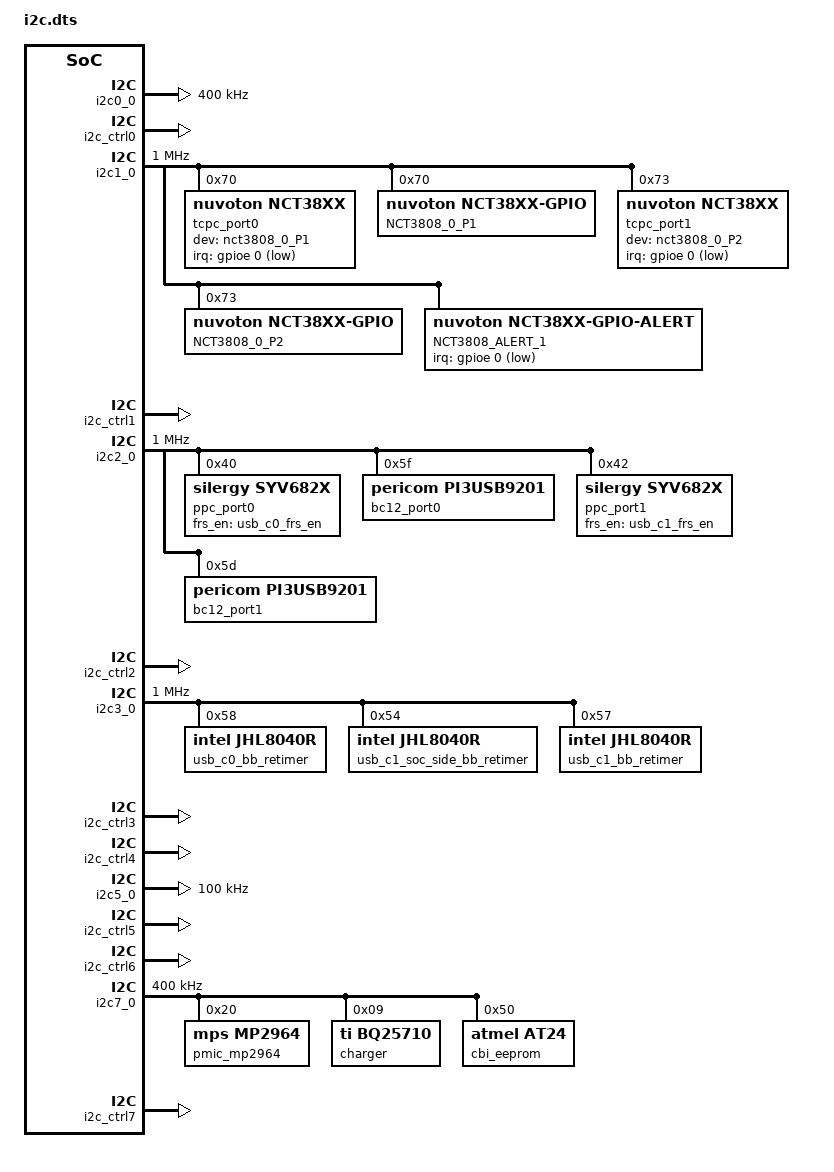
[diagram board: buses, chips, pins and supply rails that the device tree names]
/* Copyright 2022 The ChromiumOS Authors
 * Use of this source code is governed by a BSD-style license that can be
 * found in the LICENSE file.
 */

 #include <dt-bindings/usb_pd_tcpm.h>

/ {
	named-i2c-ports {
		compatible = "named-i2c-ports";
		i2c_sensor: sensor {
			i2c-port = <&i2c0_0>;
			enum-names = "I2C_PORT_SENSOR";
		};
		tcpc0_2: tcpc0_2 {
			i2c-port = <&i2c1_0>;
			enum-names = "I2C_PORT_USB_C0_C1_TCPC";
		};
		c0_c2_bc12: c0_c2_bc12 {
			i2c-port = <&i2c2_0>;
			enum-names = "I2C_PORT_USB_C0_C1_PPC",
				"I2C_PORT_USB_C0_C1_BC12";
		};
		retimer0_2: retimer0_2 {
			i2c-port = <&i2c3_0>;
			enum-names = "I2C_PORT_USB_C0_C1_MUX";
		};
		battery {
			i2c-port = <&i2c5_0>;
			enum-names = "I2C_PORT_BATTERY";
		};
		i2c_charger: charger {
			i2c-port = <&i2c7_0>;
			enum-names =  "I2C_PORT_CHARGER",
				"I2C_PORT_EEPROM",
				"I2C_PORT_MP2964";
		};
	};
};

&i2c0_0 {
	status = "okay";
	label = "I2C_SENSOR";
	clock-frequency = <I2C_BITRATE_FAST>;
	pinctrl-0 = <&i2c0_0_sda_scl_gpb4_b5>;
	pinctrl-names = "default";
};

&i2c_ctrl0 {
	status = "okay";
};

&i2c1_0 {
	status = "okay";
	label = "I2C_TCPC";
	clock-frequency = <I2C_BITRATE_FAST_PLUS>;
	pinctrl-0 = <&i2c1_0_sda_scl_gp87_90>;
	pinctrl-names = "default";

	tcpc_port0: nct38xx@70 {
		compatible = "nuvoton,nct38xx";
		reg = <0x70>;
		gpio-dev = <&nct3808_0_P1>;
		tcpc-flags = <(
			TCPC_FLAGS_TCPCI_REV2_0 |
			TCPC_FLAGS_NO_DEBUG_ACC_CONTROL)>;
		/* a duplicate of the <&gpio_usb_c0_c2_tcpc_int_odl> node in
		 * "named-gpios". This is the Zephyr preferred style,
		 * the "named-gpios" node will be dealt with at a later date.
		 */
		irq-gpios = <&gpioe 0 GPIO_ACTIVE_LOW>;
	};

	nct3808_0_P1: nct3808_0_P1@70 {
		#address-cells = <1>;
		#size-cells = <0>;
		compatible = "nuvoton,nct38xx-gpio";
		reg = <0x70>;
		label = "NCT3808_0_P1";

		ioex_port1: gpio@0 {
			compatible = "nuvoton,nct38xx-gpio-port";
			reg = <0x0>;
			label = "NCT3808_0_P1_GPIO0";
			gpio-controller;
			#gpio-cells = <2>;
			ngpios = <8>;
			pin_mask = <0xdc>;
			pinmux_mask = <0xff>;
		};
	};

	tcpc_port1: nct38xx@73 {
		compatible = "nuvoton,nct38xx";
		reg = <0x73>;
		gpio-dev = <&nct3808_0_P2>;
		tcpc-flags = <(TCPC_FLAGS_TCPCI_REV2_0)>;
		/* a duplicate of the <&gpio_usb_c0_c2_tcpc_int_odl> node in
		 * "named-gpios". This is the Zephyr preferred style,
		 * the "named-gpios" node will be dealt with at a later date.
		 */
		irq-gpios = <&gpioe 0 GPIO_ACTIVE_LOW>;
	};

	nct3808_0_P2: nct3808_0_P2@73 {
		#address-cells = <1>;
		#size-cells = <0>;
		compatible = "nuvoton,nct38xx-gpio";
		reg = <0x73>;
		label = "NCT3808_0_P2";

		ioex_port2: gpio@0 {
			compatible = "nuvoton,nct38xx-gpio-port";
			reg = <0x0>;
			label = "NCT3808_0_P2_GPIO0";
			gpio-controller;
			#gpio-cells = <2>;
			ngpios = <8>;
			pin_mask = <0xdc>;
			pinmux_mask = <0xff>;
		};
	};

	nct3808_alert_1 {
		compatible = "nuvoton,nct38xx-gpio-alert";
		/* a duplicate of the <&gpio_usb_c0_c2_tcpc_int_odl> node in
		 * "named-gpios". This is the Zephyr preferred style,
		 * the "named-gpios" node will be dealt with at a later date.
		 */
		irq-gpios = <&gpioe 0 GPIO_ACTIVE_LOW>;
		nct38xx-dev = <&nct3808_0_P1 &nct3808_0_P2>;
		label = "NCT3808_ALERT_1";
	};
};

&i2c_ctrl1 {
	status = "okay";
};

&i2c2_0 {
	status = "okay";
	label = "I2C_PPC_BC12";
	clock-frequency = <I2C_BITRATE_FAST_PLUS>;
	pinctrl-0 = <&i2c2_0_sda_scl_gp91_92>;
	pinctrl-names = "default";

	ppc_port0: syv682x@40 {
		compatible = "silergy,syv682x";
		status = "okay";
		reg = <0x40>;
		frs_en_gpio = <&usb_c0_frs_en>;
	};

	bc12_port0: pi3usb9201@5f {
		compatible = "pericom,pi3usb9201";
		status = "okay";
		reg = <0x5f>;
		irq = <&int_usb_c0_bc12>;
	};

	ppc_port1: syv682x@42 {
		compatible = "silergy,syv682x";
		status = "okay";
		reg = <0x42>;
		frs_en_gpio = <&usb_c1_frs_en>;
	};

	bc12_port1: pi3usb9201@5d {
		compatible = "pericom,pi3usb9201";
		status = "okay";
		reg = <0x5d>;
		irq = <&int_usb_c1_bc12>;
	};
};

&i2c_ctrl2 {
	status = "okay";
};

&i2c3_0 {
	status = "okay";
	label = "I2C_BB";
	clock-frequency = <I2C_BITRATE_FAST_PLUS>;
	pinctrl-0 = <&i2c3_0_sda_scl_gpd0_d1>;
	pinctrl-names = "default";

	usb_c0_bb_retimer: jhl8040r-c0@58 {
		compatible = "intel,jhl8040r";
		reg = <0x58>;
		int-pin = <&usb_c0_rt_int_odl>;
		reset-pin = <&usb_c0_rt_rst_odl>;
	};

	usb_c1_soc_side_bb_retimer: jhl8040r-c1-soc-side@54 {
		compatible = "intel,jhl8040r";
		reg = <0x54>;
		int-pin = <&usb_c1_rt_int_odl>;
		reset-pin = <&usb_c1_rt_rst_odl>;
	};

	usb_c1_bb_retimer: jhl8040r-c1@57 {
		compatible = "intel,jhl8040r";
		reg = <0x57>;
		int-pin = <&usb_c1_rt_int_odl>;
		reset-pin = <&usb_c1_rt_rst_odl>;
	};
};

&i2c_ctrl3 {
	status = "okay";
};

&i2c_ctrl4 {
	status = "okay";
};

&i2c5_0 {
	status = "okay";
	label = "I2C_BATTERY";
	clock-frequency = <I2C_BITRATE_STANDARD>;
	pinctrl-0 = <&i2c5_0_sda_scl_gp33_36>;
	pinctrl-names = "default";
};

&i2c_ctrl5 {
	status = "okay";
};

&i2c_ctrl6 {
	status = "okay";
};

&i2c7_0 {
	status = "okay";
	label = "I2C_CHARGER";
	clock-frequency = <I2C_BITRATE_FAST>;
	pinctrl-0 = <&i2c7_0_sda_scl_gpb2_b3>;
	pinctrl-names = "default";

	pmic_mp2964@20 {
		compatible = "mps,mp2964";
		reg = <0x20>;
	};

	charger: bq25710@9 {
		compatible = "ti,bq25710";
		status = "okay";
		reg = <0x9>;
	};

	cbi_eeprom: eeprom@50 {
		compatible = "atmel,at24";
		reg = <0x50>;
		size = <2048>;
		pagesize = <16>;
		address-width = <8>;
		timeout = <5>;
	};
};

&i2c_ctrl7 {
	status = "okay";
};
